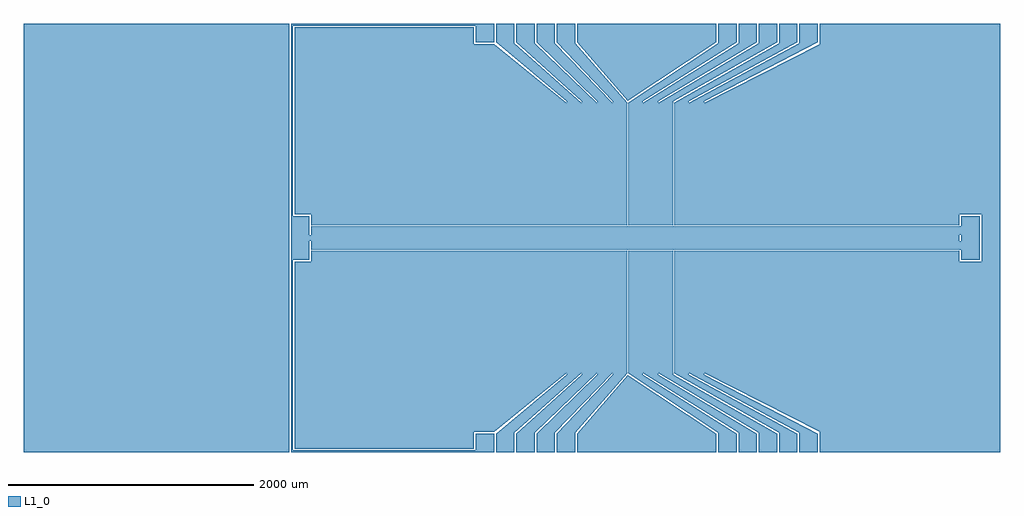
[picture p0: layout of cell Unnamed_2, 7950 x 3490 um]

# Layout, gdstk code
import gdstk
lib = gdstk.Library(unit=1e-6, precision=1e-09)
def R(c, l, rs):  # rectangles x0, y0, x1, y1
    for r in rs: c.add(gdstk.rectangle(r[:2], r[2:], *l))
def P(c, l, *ps):  # polygons
    for p in ps: c.add(gdstk.Polygon(p, *l))
L1_0 = (1, 0)

unnamed_2 = lib.new_cell('Unnamed_2')
R(unnamed_2, L1_0, [(-4980,-1745,-2820,1745)])
P(unnamed_2, L1_0, [(-475,-1745),(-475,-1595),(-62.5,-1117.5),(660,-1595),(660,-1745)],
  [(-2775,-1715),(-2775,-192.5),(-2640,-192.5),(-2640,-102.5),(-565,-102.5),(-565,-1102.5),(-1150,-1580),(-1315,-1580),(-1315,-1715)],
  [(-1135,-1745),(-1135,-1595),(-560,-1112.5),(-560,-102.5),(-440,-102.5),(-440,-1102.5),(-985,-1585),(-985,-1745)],
  [(-970,-1745),(-970,-1595),(-435,-1112.5),(-435,-102.5),(-315,-102.5),(-315,-1102.5),(-820,-1585),(-820,-1745)],
  [(-805,-1745),(-805,-1595),(-310,-1112.5),(-310,-102.5),(-190,-102.5),(-190,-1102.5),(-655,-1585),(-655,-1745)],
  [(-640,-1745),(-640,-1595),(-185,-1112.5),(-185,-102.5),(-65,-102.5),(-65,-1102.5),(-490,-1585),(-490,-1745)],
  [(675,-1745),(675,-1585),(-60,-1102.5),(-60,-102.5),(60,-102.5),(60,-1112.5),(825,-1595),(825,-1745)],
  [(840,-1745),(840,-1585),(65,-1102.5),(65,-102.5),(185,-102.5),(185,-1112.5),(990,-1595),(990,-1745)],
  [(1005,-1745),(1005,-1585),(190,-1102.5),(190,-102.5),(310,-102.5),(310,-1112.5),(1155,-1595),(1155,-1745)],
  [(1170,-1745),(1170,-1585),(315,-1102.5),(315,-102.5),(435,-102.5),(435,-1112.5),(1320,-1595),(1320,-1745)],
  [(1335,-1745),(1335,-1585),(440,-1102.5),(440,-102.5),(560,-102.5),(560,-1112.5),(1485,-1595),(1485,-1745)],
  [(-2805,-1745),(-2805,-2.5),(2640,-2.5),(2640,-22.5),(-2655,-22.5),(-2655,-177.5),(-2790,-177.5),(-2790,-1730),(-1300,-1730),(-1300,-1595),(-1150,-1595),(-1150,-1745)],
  [(2655,-177.5),(2655,-97.5),(-2640,-97.5),(-2640,-27.5),(2655,-27.5),(2655,27.5),(-2640,27.5),(-2640,97.5),(2655,97.5),(2655,177.5),(2805,177.5),(2805,-177.5)],
  [(-2640,102.5),(-2640,192.5),(-2775,192.5),(-2775,1715),(-1315,1715),(-1315,1580),(-1150,1580),(-565,1102.5),(-565,102.5)],
  [(-2805,2.5),(-2805,1745),(-1150,1745),(-1150,1595),(-1300,1595),(-1300,1730),(-2790,1730),(-2790,177.5),(-2655,177.5),(-2655,22.5),(2640,22.5),(2640,2.5)],
  [(-560,102.5),(-560,1112.5),(-1135,1595),(-1135,1745),(-985,1745),(-985,1585),(-440,1102.5),(-440,102.5)],
  [(-435,102.5),(-435,1112.5),(-970,1595),(-970,1745),(-820,1745),(-820,1585),(-315,1102.5),(-315,102.5)],
  [(-310,102.5),(-310,1112.5),(-805,1595),(-805,1745),(-655,1745),(-655,1585),(-190,1102.5),(-190,102.5)],
  [(-185,102.5),(-185,1112.5),(-640,1595),(-640,1745),(-490,1745),(-490,1585),(-65,1102.5),(-65,102.5)],
  [(-62.5,1117.5),(-475,1595),(-475,1745),(660,1745),(660,1595)],
  [(-60,102.5),(-60,1102.5),(675,1585),(675,1745),(825,1745),(825,1595),(60,1112.5),(60,102.5)],
  [(65,102.5),(65,1102.5),(840,1585),(840,1745),(990,1745),(990,1595),(185,1112.5),(185,102.5)],
  [(190,102.5),(190,1102.5),(1005,1585),(1005,1745),(1155,1745),(1155,1595),(310,1112.5),(310,102.5)],
  [(315,102.5),(315,1102.5),(1170,1585),(1170,1745),(1320,1745),(1320,1595),(435,1112.5),(435,102.5)],
  [(440,102.5),(440,1102.5),(1335,1585),(1335,1745),(1485,1745),(1485,1595),(560,1112.5),(560,102.5)],
  [(1500,-1745),(1500,-1580),(565,-1102.5),(565,-102.5),(2640,-102.5),(2640,-192.5),(2820,-192.5),(2820,192.5),(2640,192.5),(2640,102.5),(565,102.5),(565,1102.5),(1500,1580),(1500,1745),(2970,1745),(2970,-1745)])

lib.write_gds('Unnamed_2.gds')
